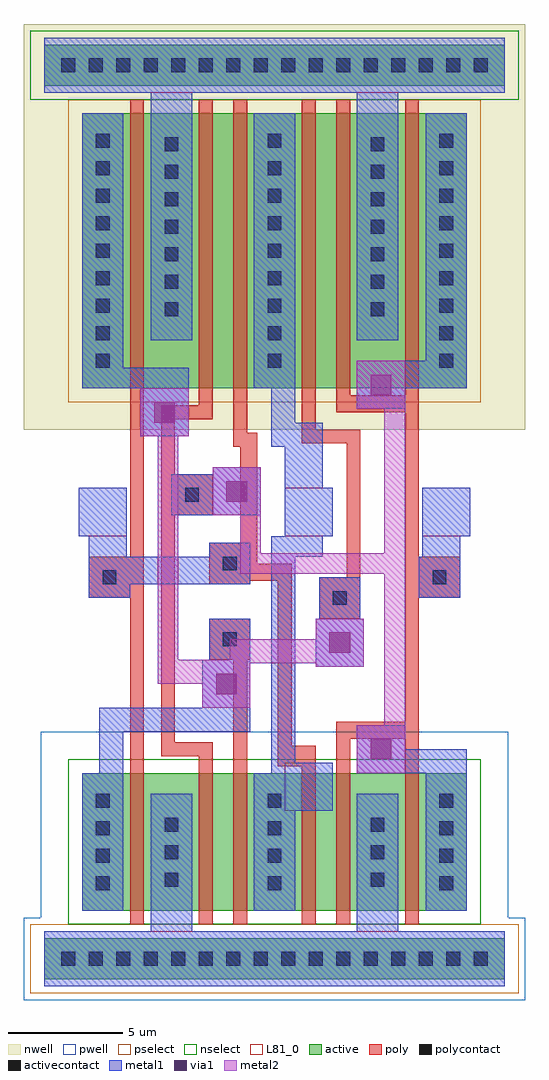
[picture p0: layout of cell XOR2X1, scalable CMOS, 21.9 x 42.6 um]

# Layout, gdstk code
import gdstk
lib = gdstk.Library(unit=1e-6, precision=1e-09)
def R(c, l, rs):  # rectangles x0, y0, x1, y1
    for r in rs: c.add(gdstk.rectangle(r[:2], r[2:], *l))
def A(c, l, x, y, w, h, nx, ny, dx, dy):  # array of equal rectangles
    R(c, l, [(x+i*dx, y+j*dy, x+i*dx+w, y+j*dy+h) for i in range(nx) for j in range(ny)])
pwell = (41, 0)
nwell = (42, 0)
active = (43, 0)
pselect = (44, 0)
nselect = (45, 0)
poly = (46, 0)
polycontact = (47, 0)
activecontact = (48, 0)
metal1 = (49, 0)
via1 = (50, 0)
metal2 = (51, 0)
L81_0 = (81, 0)

xor2x1 = lib.new_cell('XOR2X1')
R(xor2x1, pwell, [(-1.95,-1.8,19.95,1.8), (-1.2,1.8,19.2,9.9)])
R(xor2x1, nwell, [(-1.95,23.1,19.95,40.8)])
R(xor2x1, active, [(-1.05,-0.9,19.05,0.9), (0.6,2.1,17.4,8.1), (0.6,24.9,17.4,36.9), (-1.05,38.1,19.05,39.9)])
R(xor2x1, pselect, [(-1.65,-1.5,19.65,1.5), (0,24.3,18,37.5)])
R(xor2x1, nselect, [(0,1.5,18,8.7), (-1.65,37.5,19.65,40.5)])
R(xor2x1, poly, [(2.7,1.5,3.3,15.75), (5.7,1.5,6.3,8.85), (7.2,1.5,7.8,13.05), (10.2,1.5,10.8,8.4), (11.7,1.5,12.3,9.6), (14.7,1.5,15.3,9.6), (9.15,8.4,10.8,9.3), (4.05,8.85,6.3,9.45), (9.15,9.3,9.75,16.5), (4.05,9.45,4.65,19.35), (11.7,9.6,15.3,10.35), (14.7,10.35,15.3,15.75), (6.15,13.05,7.95,14.85), (10.95,14.85,12.75,16.65), (0.9,15.75,3.3,17.55), (14.7,15.75,17.1,17.55), (6.15,16.35,7.95,16.5), (6.15,16.5,9.75,17.25), (12.15,16.65,12.75,22.5), (6.15,17.25,8.25,18.15), (2.7,17.55,3.3,37.5), (14.7,17.55,15.3,23.85), (7.5,18.15,8.25,22.35), (4.05,19.35,6.3,21.15), (4.05,21.15,4.65,23.55), (7.2,22.35,8.25,22.95), (10.2,22.5,12.75,23.1), (7.2,22.95,7.8,37.5), (10.2,23.1,10.8,37.5), (4.05,23.55,6.3,24.15), (11.7,23.85,15.3,24.6), (5.7,24.15,6.3,37.5), (11.7,24.6,12.3,37.5), (14.7,24.6,15.3,37.5)])
R(xor2x1, polycontact, [(6.75,13.65,7.35,14.25), (11.55,15.45,12.15,16.05), (1.5,16.35,2.1,16.95), (15.9,16.35,16.5,16.95), (6.75,16.95,7.35,17.55), (5.1,19.95,5.7,20.55)])
A(xor2x1, activecontact, -0.3, -0.3, 0.6, 0.6, 16, 2, 1.2, 39)
A(xor2x1, activecontact, 1.2, 3, 0.6, 0.6, 3, 4, 7.5, 1.2)
A(xor2x1, activecontact, 4.2, 3.15, 0.6, 0.6, 1, 3, 0, 1.2)
A(xor2x1, activecontact, 13.2, 3.15, 0.6, 0.6, 1, 3, 0, 1.2)
A(xor2x1, activecontact, 1.2, 25.8, 0.6, 0.6, 3, 9, 7.5, 1.2)
A(xor2x1, activecontact, 4.2, 28.05, 0.6, 0.6, 1, 7, 0, 1.2)
A(xor2x1, activecontact, 13.2, 28.05, 0.6, 0.6, 1, 7, 0, 1.2)
R(xor2x1, metal1, [(-1.05,-1.2,19.05,1.2), (3.6,1.2,5.4,7.2), (12.6,1.2,14.4,7.2), (0.6,2.1,2.4,8.1), (8.1,2.1,9.9,6.45), (15.6,2.1,17.4,8.1), (8.1,6.45,11.55,8.1), (1.35,8.1,2.4,9.9), (8.85,8.1,11.55,8.55), (12.6,8.1,17.4,9.15), (8.85,8.55,9.9,17.55), (12.6,9.15,14.7,10.2), (1.35,9.9,7.95,10.95), (5.85,10.95,7.95,13.05), (10.8,12.75,12.9,14.85), (6.15,13.05,7.95,14.85), (10.95,14.85,12.75,16.65), (0.9,15.75,2.7,16.35), (15.3,15.75,17.1,17.55), (0.9,16.35,7.95,17.55), (0.9,17.55,2.55,18.45), (6.15,17.55,7.95,18.15), (8.85,17.55,11.1,18.45), (15.45,17.55,17.1,18.45), (0.45,18.45,2.55,20.55), (9.45,18.45,11.55,20.55), (15.45,18.45,17.55,20.55), (4.5,19.35,8.4,21.15), (9.45,20.55,11.1,22.35), (6.3,21.15,8.4,21.45), (8.85,22.35,11.1,23.4), (3.15,22.8,5.25,24.9), (8.85,23.4,9.9,24.9), (12.6,24,14.7,24.9), (0.6,24.9,5.25,25.8), (8.1,24.9,9.9,36.9), (12.6,24.9,17.4,26.1), (0.6,25.8,2.4,36.9), (15.6,26.1,17.4,36.9), (3.6,27,5.4,37.8), (12.6,27,14.4,37.8), (-1.05,37.8,19.05,40.2)])
R(xor2x1, via1, [(13.2,8.7,14.1,9.6), (6.45,11.55,7.35,12.45), (11.4,13.35,12.3,14.25), (6.9,19.95,7.8,20.85), (3.75,23.4,4.65,24.3), (13.2,24.6,14.1,25.5)])
R(xor2x1, metal2, [(12.6,8.1,14.7,10.2), (13.8,10.2,14.7,16.8), (5.85,10.95,7.95,12), (3.9,12,7.95,12.9), (10.8,12.75,12.9,12.9), (3.9,12.9,12.9,13.05), (3.9,13.05,4.8,22.8), (7.05,13.05,12.9,13.95), (10.8,13.95,12.9,14.85), (7.5,16.8,14.7,17.7), (7.5,17.7,8.4,19.35), (13.8,17.7,14.7,24), (6.3,19.35,8.4,21.45), (3.15,22.8,5.25,24.9), (12.6,24,14.7,26.1)])
R(xor2x1, L81_0, [(-1.05,-1.2,19.05,1.2), (9.45,6.45,11.55,8.55), (0.45,18.45,2.55,20.55), (9.45,18.45,11.55,20.55), (15.45,18.45,17.55,20.55), (-1.05,37.8,19.05,40.2)])

lib.write_gds('XOR2X1.gds')
